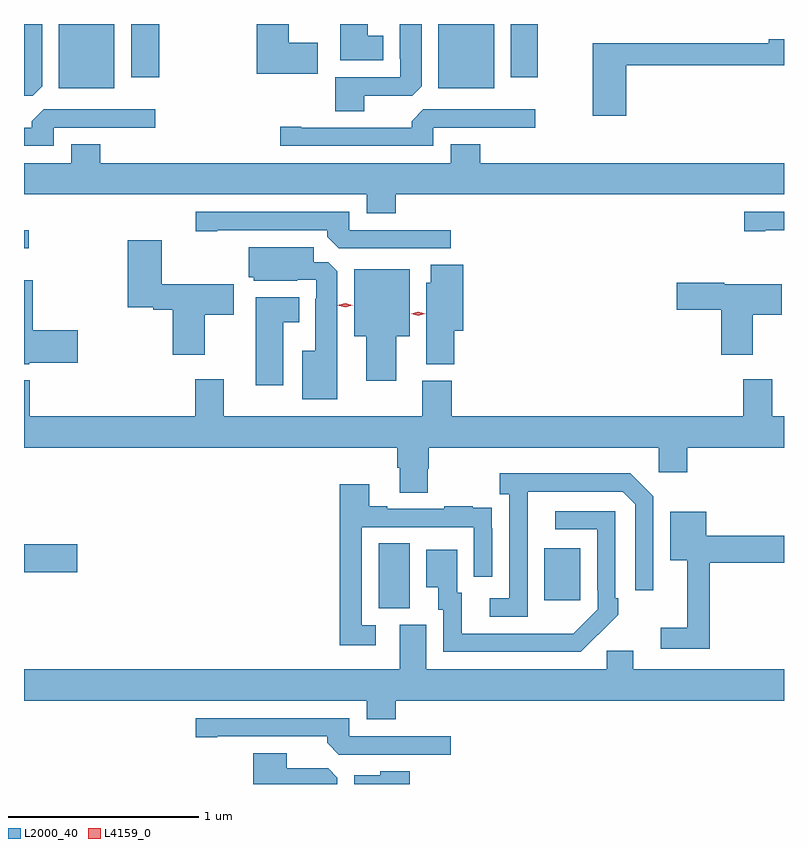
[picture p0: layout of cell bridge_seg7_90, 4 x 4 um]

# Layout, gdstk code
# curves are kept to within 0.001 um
import gdstk
lib = gdstk.Library(unit=1e-6, precision=1e-09)
def R(c, l, rs):  # rectangles x0, y0, x1, y1
    for r in rs: c.add(gdstk.rectangle(r[:2], r[2:], *l))
def P(c, l, *ps):  # polygons
    for p in ps: c.add(gdstk.Polygon(p, *l))
L2000_40 = (2000, 40)
L4159_0 = (4159, 0)

bridge_seg7_90 = lib.new_cell('bridge_seg7_90')
R(bridge_seg7_90, L2000_40, [(1085.732,1014.421,1085.896,1014.764), (1086.605,1014.465,1086.793,1014.739), (1083.866,1014.611,1084.147,1014.758), (1083.866,1016.316,1083.892,1016.412), (1084.049,1017.158,1084.342,1017.497), (1086.047,1017.158,1086.34,1017.497), (1084.43,1017.216,1084.577,1017.497), (1086.428,1017.216,1086.57,1017.497)])
P(bridge_seg7_90, L2000_40, [(1083.961,1017.169),(1083.961,1017.497),(1083.866,1017.497),(1083.866,1017.12),(1083.912,1017.12)],
  [(1085.413,1017.399),(1085.26,1017.399),(1085.26,1017.497),(1085.09,1017.497),(1085.09,1017.236),(1085.413,1017.236)],
  [(1085.656,1017.12),(1085.91,1017.12),(1085.959,1017.169),(1085.959,1017.497),(1085.843,1017.497),(1085.843,1017.313),(1085.847,1017.313),(1085.847,1017.216),(1085.504,1017.216),(1085.504,1017.037),(1085.656,1017.037)],
  [(1085.758,1017.436),(1085.674,1017.436),(1085.674,1017.497),(1085.531,1017.497),(1085.531,1017.305),(1085.758,1017.305)],
  [(1087.037,1017.28),(1087.866,1017.28),(1087.866,1017.416),(1087.786,1017.416),(1087.786,1017.396),(1086.859,1017.396),(1086.859,1017.015),(1087.037,1017.015)],
  [(1086.021,1016.952),(1086.556,1016.952),(1086.556,1017.048),(1085.967,1017.048),(1085.906,1016.986),(1085.906,1016.952),(1085.326,1016.952),(1085.326,1016.957),(1085.214,1016.957),(1085.214,1016.856),(1086.021,1016.856)],
  [(1084.023,1016.952),(1084.558,1016.952),(1084.558,1017.048),(1083.969,1017.048),(1083.908,1016.986),(1083.908,1016.952),(1083.866,1016.952),(1083.866,1016.856),(1084.023,1016.856)],
  [(1085.822,1016.6),(1087.866,1016.6),(1087.866,1016.764),(1086.266,1016.764),(1086.266,1016.863),(1086.113,1016.863),(1086.113,1016.764),(1084.268,1016.764),(1084.268,1016.863),(1084.115,1016.863),(1084.115,1016.764),(1083.866,1016.764),(1083.866,1016.6),(1085.669,1016.6),(1085.669,1016.501),(1085.822,1016.501)],
  [(1087.768,1016.412),(1087.866,1016.412),(1087.866,1016.508),(1087.656,1016.508),(1087.656,1016.407),(1087.768,1016.407)],
  [(1086.112,1016.412),(1085.577,1016.412),(1085.577,1016.508),(1084.77,1016.508),(1084.77,1016.407),(1084.882,1016.407),(1084.882,1016.412),(1085.462,1016.412),(1085.462,1016.378),(1085.523,1016.316),(1086.112,1016.316)],
  [(1084.816,1015.966),(1084.969,1015.966),(1084.969,1016.128),(1084.59,1016.128),(1084.59,1016.359),(1084.412,1016.359),(1084.412,1016.006),(1084.547,1016.006),(1084.547,1015.994),(1084.649,1015.994),(1084.649,1015.755),(1084.816,1015.755)],
  [(1085.515,1016.195),(1085.466,1016.244),(1085.392,1016.244),(1085.392,1016.323),(1085.048,1016.323),(1085.048,1016.163),(1085.076,1016.163),(1085.076,1016.147),(1085.303,1016.147),(1085.303,1016.151),(1085.403,1016.151),(1085.403,1016.051),(1085.399,1016.051),(1085.399,1015.777),(1085.33,1015.777),(1085.33,1015.523),(1085.515,1015.523)],
  [(1086.131,1015.883),(1086.179,1015.883),(1086.179,1016.231),(1086.008,1016.231),(1086.008,1016.136),(1085.984,1016.136),(1085.984,1015.705),(1086.131,1015.705)],
  [(1085.824,1015.853),(1085.896,1015.853),(1085.896,1016.206),(1085.603,1016.206),(1085.603,1015.853),(1085.666,1015.853),(1085.666,1015.62),(1085.824,1015.62)],
  [(1083.894,1015.715),(1084.15,1015.715),(1084.15,1015.886),(1083.911,1015.886),(1083.911,1016.149),(1083.866,1016.149),(1083.866,1015.706),(1083.894,1015.706)],
  [(1087.702,1015.966),(1087.855,1015.966),(1087.855,1016.128),(1087.551,1016.128),(1087.551,1016.136),(1087.302,1016.136),(1087.302,1015.994),(1087.535,1015.994),(1087.535,1015.755),(1087.702,1015.755)],
  [(1085.23,1015.928),(1085.314,1015.928),(1085.314,1016.059),(1085.087,1016.059),(1085.087,1015.596),(1085.23,1015.596)],
  [(1085.991,1015.155),(1085.996,1015.155),(1085.996,1015.268),(1087.206,1015.268),(1087.206,1015.137),(1087.358,1015.137),(1087.358,1015.268),(1087.866,1015.268),(1087.866,1015.432),(1087.804,1015.432),(1087.804,1015.627),(1087.652,1015.627),(1087.652,1015.432),(1086.116,1015.432),(1086.116,1015.62),(1085.963,1015.62),(1085.963,1015.432),(1084.918,1015.432),(1084.918,1015.627),(1084.766,1015.627),(1084.766,1015.432),(1083.896,1015.432),(1083.896,1015.621),(1083.866,1015.621),(1083.866,1015.268),(1085.831,1015.268),(1085.831,1015.162),(1085.843,1015.162),(1085.843,1015.03),(1085.991,1015.03)],
  [(1086.516,1014.835),(1086.517,1015.035),(1087.017,1015.035),(1087.083,1014.969),(1087.083,1014.516),(1087.179,1014.516),(1087.179,1015.011),(1087.058,1015.132),(1086.369,1015.132),(1086.369,1015.022),(1086.42,1015.022),(1086.42,1014.474),(1086.318,1014.474),(1086.318,1014.378),(1086.516,1014.378)],
  [(1085.716,1014.333),(1085.643,1014.333),(1085.643,1014.849),(1086.234,1014.849),(1086.234,1014.588),(1086.33,1014.588),(1086.33,1014.842),(1086.329,1014.842),(1086.329,1014.951),(1086.227,1014.951),(1086.227,1014.958),(1086.079,1014.958),(1086.079,1014.945),(1085.779,1014.945),(1085.779,1014.958),(1085.683,1014.958),(1085.683,1015.075),(1085.527,1015.075),(1085.527,1014.228),(1085.716,1014.228)],
  [(1086.887,1014.283),(1086.888,1014.282),(1086.993,1014.387),(1086.993,1014.475),(1086.978,1014.475),(1086.978,1014.933),(1086.663,1014.933),(1086.663,1014.837),(1086.882,1014.837),(1086.882,1014.517),(1086.885,1014.517),(1086.885,1014.417),(1086.757,1014.289),(1086.169,1014.288),(1086.169,1014.504),(1086.145,1014.504),(1086.145,1014.73),(1085.984,1014.73),(1085.984,1014.533),(1086.047,1014.533),(1086.047,1014.414),(1086.072,1014.414),(1086.072,1014.192),(1086.796,1014.192)],
  [(1087.475,1014.662),(1087.866,1014.662),(1087.866,1014.804),(1087.456,1014.804),(1087.456,1014.931),(1087.268,1014.931),(1087.268,1014.674),(1087.358,1014.674),(1087.358,1014.319),(1087.218,1014.319),(1087.218,1014.21),(1087.475,1014.21)],
  [(1085.822,1013.936),(1087.866,1013.936),(1087.866,1014.1),(1087.072,1014.1),(1087.072,1014.198),(1086.933,1014.198),(1086.933,1014.1),(1085.983,1014.1),(1085.983,1014.336),(1085.843,1014.336),(1085.843,1014.1),(1083.866,1014.1),(1083.866,1013.936),(1085.669,1013.936),(1085.669,1013.837),(1085.822,1013.837)],
  [(1086.112,1013.748),(1085.577,1013.748),(1085.577,1013.844),(1084.77,1013.844),(1084.77,1013.743),(1084.882,1013.743),(1084.882,1013.748),(1085.462,1013.748),(1085.462,1013.714),(1085.523,1013.652),(1086.112,1013.652)],
  [(1085.515,1013.531),(1085.466,1013.58),(1085.248,1013.58),(1085.248,1013.659),(1085.072,1013.659),(1085.072,1013.497),(1085.515,1013.497)],
  [(1085.896,1013.563),(1085.742,1013.563),(1085.742,1013.542),(1085.603,1013.542),(1085.603,1013.497),(1085.896,1013.497)])
P(bridge_seg7_90, L4159_0, [(1085.941,1015.962),(1085.904,1015.972),(1085.903,1015.972),(1085.904,1015.972),(1085.941,1015.982),(1085.978,1015.972),(1085.978,1015.972),(1085.978,1015.972)],
  [(1085.556,1016.007),(1085.514,1016.017),(1085.514,1016.017),(1085.514,1016.017),(1085.556,1016.027),(1085.596,1016.017),(1085.597,1016.017),(1085.596,1016.017)])

lib.write_gds('bridge_seg7_90.gds')
